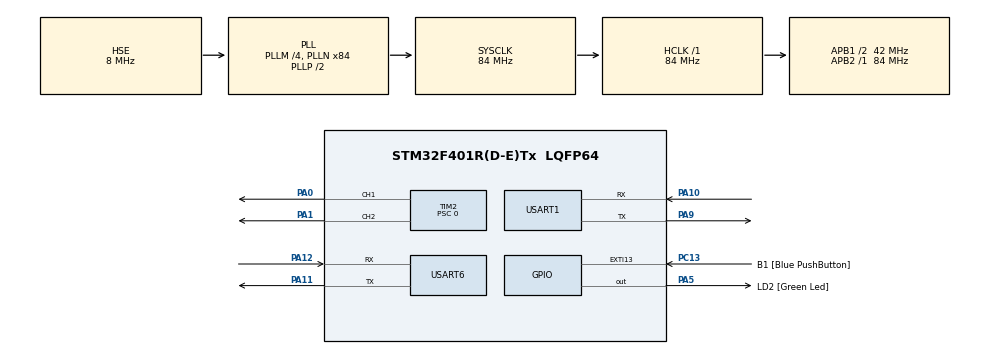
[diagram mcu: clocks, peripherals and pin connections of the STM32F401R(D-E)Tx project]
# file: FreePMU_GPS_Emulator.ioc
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Dma.Request0=USART6_RX
Dma.USART6_RX.0.Direction=DMA_PERIPH_TO_MEMORY
Dma.USART6_RX.0.FIFOMode=DMA_FIFOMODE_DISABLE
Dma.USART6_RX.0.Instance=DMA2_Stream1
Dma.USART6_RX.0.MemDataAlignment=DMA_MDATAALIGN_BYTE
Dma.USART6_RX.0.MemInc=DMA_MINC_ENABLE
Dma.USART6_RX.0.Mode=DMA_NORMAL
Dma.USART6_RX.0.PeriphDataAlignment=DMA_PDATAALIGN_BYTE
Dma.USART6_RX.0.PeriphInc=DMA_PINC_DISABLE
Dma.USART6_RX.0.Priority=DMA_PRIORITY_LOW
Mcu.Family=STM32F4
Mcu.Name=STM32F401R(D-E)Tx
Mcu.Package=LQFP64
NVIC.DMA2_Stream1_IRQn=true\:0\:0\:false\:false\:true\:false\:true
NVIC.PriorityGroup=NVIC_PRIORITYGROUP_0
NVIC.TIM2_IRQn=true\:0\:0\:false\:false\:true\:true\:true
NVIC.USART6_IRQn=true\:0\:0\:false\:false\:true\:true\:true
PA0-WKUP.Signal=S_TIM2_CH1_ETR
PA1.Signal=S_TIM2_CH2
PA10.Mode=Asynchronous
PA10.Signal=USART1_RX
PA11.Mode=Asynchronous
PA11.Signal=USART6_TX
PA12.Mode=Asynchronous
PA12.Signal=USART6_RX
PA13.GPIO_Label=TMS
PA13.Mode=Serial_Wire
PA13.Signal=SYS_JTMS-SWDIO
PA14.GPIO_Label=TCK
PA14.Mode=Serial_Wire
PA14.Signal=SYS_JTCK-SWCLK
PA5.GPIO_Label=LD2 [Green Led]
PA5.GPIO_Mode=GPIO_MODE_OUTPUT_PP
PA5.GPIO_PuPd=GPIO_NOPULL
PA5.GPIO_Speed=GPIO_SPEED_FREQ_LOW
PA5.Signal=GPIO_Output
PA9.Mode=Asynchronous
PA9.Signal=USART1_TX
PB3.GPIO_Label=SWO
PB3.Signal=SYS_JTDO-SWO
PC13-ANTI_TAMP.GPIO_Label=B1 [Blue PushButton]
PC13-ANTI_TAMP.GPIO_ModeDefaultEXTI=GPIO_MODE_IT_FALLING
PC13-ANTI_TAMP.GPIO_PuPd=GPIO_NOPULL
PC13-ANTI_TAMP.Signal=GPXTI13
PC14-OSC32_IN.Mode=LSE-External-Oscillator
PC14-OSC32_IN.Signal=RCC_OSC32_IN
PC15-OSC32_OUT.Mode=LSE-External-Oscillator
PC15-OSC32_OUT.Signal=RCC_OSC32_OUT
PH0\ -\ OSC_IN.Mode=HSE-External-Clock-Source
PH0\ -\ OSC_IN.Signal=RCC_OSC_IN
PH1\ -\ OSC_OUT.Mode=HSE-External-Clock-Source
PH1\ -\ OSC_OUT.Signal=RCC_OSC_OUT
ProjectManager.HeapSize=0x200
ProjectManager.StackSize=0x400
ProjectManager.TargetToolchain=STM32CubeIDE
RCC.48MHZClocksFreq_Value=24000000
RCC.AHBFreq_Value=84000000
RCC.APB1CLKDivider=RCC_HCLK_DIV2
RCC.APB1Freq_Value=42000000
RCC.APB1TimFreq_Value=84000000
RCC.APB2Freq_Value=84000000
RCC.APB2TimFreq_Value=84000000
RCC.CortexFreq_Value=84000000
RCC.HCLKFreq_Value=84000000
RCC.HSE_VALUE=8000000
RCC.HSI_VALUE=16000000
RCC.PLLM=4
RCC.PLLN=84
RCC.PLLQ=7
RCC.PLLSourceVirtual=RCC_PLLSOURCE_HSE
RCC.RCC_RTC_Clock_Source=RCC_RTCCLKSOURCE_LSE
RCC.RCC_RTC_Clock_SourceVirtual=RCC_RTCCLKSOURCE_LSE
RCC.RCC_RTC_Clock_Source_FROM_HSE=RCC_RTCCLKSOURCE_HSE_DIV8
RCC.SYSCLKFreq_VALUE=84000000
RCC.SYSCLKSource=RCC_SYSCLKSOURCE_PLLCLK
RCC.VCOOutputFreq_Value=168000000
SH.S_TIM2_CH1_ETR.0=TIM2_CH1,PWM Generation1 CH1
SH.S_TIM2_CH2.0=TIM2_CH2,PWM Generation2 CH2
TIM2.Channel-PWM\ Generation1\ CH1=TIM_CHANNEL_1
TIM2.Channel-PWM\ Generation2\ CH2=TIM_CHANNEL_2
TIM2.Period=2799999
TIM2.Prescaler=0
TIM2.Pulse-PWM\ Generation1\ CH1=279999
TIM2.Pulse-PWM\ Generation2\ CH2=279999
USART1.VirtualMode=VM_ASYNC
USART6.VirtualMode=VM_ASYNC
VP_RTC_VS_RTC_Activate.Mode=RTC_Enabled
VP_TIM2_VS_ClockSourceINT.Mode=Internal
board=NUCLEO-F401RE

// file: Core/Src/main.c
/* USER CODE BEGIN Header */
/**
  ******************************************************************************
  * @file           : main.c
  * @brief          : Main program body
  ******************************************************************************
  * @attention
  *
  * <h2><center>&copy; Copyright (c) 2021 STMicroelectronics.
  * All rights reserved.</center></h2>
  *
  * This software component is licensed by ST under BSD 3-Clause license,
  * the "License"; You may not use this file except in compliance with the
  * License. You may obtain a copy of the License at:
  *                        opensource.org/licenses/BSD-3-Clause
  *
  ******************************************************************************
  */
/* USER CODE END Header */
#include "main.h"

/* USER CODE BEGIN Includes */
#include <stdio.h>
/* USER CODE END Includes */

RTC_HandleTypeDef hrtc;

TIM_HandleTypeDef htim2;

UART_HandleTypeDef huart1;
UART_HandleTypeDef huart6;
DMA_HandleTypeDef hdma_usart6_rx;

/* USER CODE BEGIN PV */

uint8_t flagTIM2 = 0;
char time[30];
char date[30];
char gps_string[100];
int tempcounter = 0;
int pps_counter = 0;
RTC_TimeTypeDef sTime;
RTC_TimeTypeDef rxTime;
RTC_DateTypeDef sDate;
RTC_DateTypeDef rxDate;
uint8_t UART6_rxCommand[1] = {0};
uint8_t UART6_rxBuffer[17] = {0}; // Buffer where DMA will store the received date and time from serial.
uint8_t UART6_rxFlag = 0;
uint8_t rxDateTimeFlag = 0;

// Serial terminal messages:
const char welcome_msg[] = "\r\nFreePMU GPS emulator version 1.\r\n";
const char reset_dt_msg[] = "\r\nDate and time reset to 2022-01-01 12:00\r\n";
const char help_msg[] = "\r\nThis is the help message.\r\n\r\n\t h: Show this help message.\r\n\t p: Print the last send NMEA message.\r\n\t P: Print formatted date and time.\r\n\t s: Set the time and date.\r\n";
const char prompt1_msg[] = "\r\nEnter the date and time string (enable echo in your terminal):\r\nFomart: hh,mm,ss,DD,MM,YY\r\n=> ";
const char prompt2_msg[] = "\r\nString received: ";
const char prompt3_msg[] = "\r\nDate and time set to:\r\n";

/* USER CODE END PV */

void SystemClock_Config(void);
static void MX_GPIO_Init(void);
static void MX_RTC_Init(void);
static void MX_TIM2_Init(void);
static void MX_USART1_UART_Init(void);
static void MX_DMA_Init(void);
static void MX_USART6_UART_Init(void);

int main(void)
{

  /* MCU Configuration--------------------------------------------------------*/

  /* Reset of all peripherals, Initializes the Flash interface and the Systick. */
  HAL_Init();

  /* USER CODE BEGIN Init */
  uint8_t a;
  /* USER CODE END Init */

  /* Configure the system clock */
  SystemClock_Config();

  /* Initialize all configured peripherals */
  MX_GPIO_Init();
  MX_RTC_Init();
  MX_TIM2_Init();
  MX_USART1_UART_Init();
  MX_DMA_Init();
  MX_USART6_UART_Init();
  /* USER CODE BEGIN 2 */
  HAL_TIM_Base_Start_IT(&htim2);
  HAL_TIM_PWM_Start(&htim2, TIM_CHANNEL_1);
  HAL_TIM_PWM_Start(&htim2, TIM_CHANNEL_2);
  HAL_UART_Transmit(&huart6, (uint8_t*)welcome_msg,sizeof(welcome_msg),1000);
  HAL_UART_Receive_DMA(&huart6, UART6_rxCommand, sizeof(UART6_rxCommand));

  // Check user button press. If pressed, RTC clock is reseted to the subsequent
  // date and time.
  if(HAL_GPIO_ReadPin(B1_GPIO_Port, B1_Pin) == GPIO_PIN_RESET){
	  // Specified values are in BCD format.
	  sTime.Hours = 0x12;
	  sTime.Minutes = 0x00;
	  sTime.Seconds = 0x00;
	  sTime.SecondFraction = 0x00;
	  sTime.DayLightSaving = RTC_DAYLIGHTSAVING_NONE;
	  sTime.StoreOperation = RTC_STOREOPERATION_RESET;
	  if (HAL_RTC_SetTime(&hrtc, &sTime, RTC_FORMAT_BCD) != HAL_OK)
	  {
	    Error_Handler();
	  }
	  sDate.WeekDay = RTC_WEEKDAY_SATURDAY;
	  sDate.Month = RTC_MONTH_JANUARY;
	  sDate.Date = 0x01;
	  sDate.Year = 0x22;

	  if (HAL_RTC_SetDate(&hrtc, &sDate, RTC_FORMAT_BCD) != HAL_OK)
	  {
	    Error_Handler();
	  }
	  HAL_UART_Transmit(&huart6, (uint8_t*)reset_dt_msg, sizeof(reset_dt_msg), 1000);
  }

  /* USER CODE END 2 */

  /* Infinite loop */
  /* USER CODE BEGIN WHILE */
  while (1)
  {
	  if (pps_counter > 29){
		  HAL_RTC_GetTime(&hrtc, &sTime, RTC_FORMAT_BIN);
		  HAL_RTC_GetDate(&hrtc, &sDate, RTC_FORMAT_BIN);

		  //"GPRMC,190430,A,4812.3038,S,07330.7690,W,3.7,3.8,090210,13.7,E,D*26\n";
		  sprintf(date,"Date: %02d.%02d.%02d\t",sDate.Date,sDate.Month,sDate.Year);
		  sprintf(time,"Time: %02d.%02d.%02d\r\n",sTime.Hours,sTime.Minutes,sTime.Seconds);
		  sprintf(gps_string,"$GPRMC,%02d%02d%02d,A,2730.00,S,048300.00,W,0.0,0.0,%02d%02d%02d,20.3,E*26\r\n",sTime.Hours,sTime.Minutes,sTime.Seconds,sDate.Date,sDate.Month,sDate.Year);

		  HAL_UART_Transmit(&huart1, (uint8_t*)gps_string, sizeof(gps_string),1000);
		  tempcounter++;
		  pps_counter = 0;
		  flagTIM2 = 0;
	  }
	  // Perform actions accordingly with the received command character:
	  if(UART6_rxFlag){
		  if (*UART6_rxCommand == 'h'){
			  HAL_UART_Transmit(&huart6, (uint8_t*)help_msg, sizeof(help_msg), 1000);
			  HAL_UART_Receive_DMA(&huart6, UART6_rxCommand, sizeof(UART6_rxCommand)); // Enable reception of a command
		  }
		  else if(*UART6_rxCommand == 'p'){
			  HAL_UART_Transmit(&huart6, (uint8_t*)"\r\n", 2,1000);
			  HAL_UART_Transmit(&huart6, (uint8_t*)gps_string, sizeof(gps_string),1000);
			  HAL_UART_Receive_DMA(&huart6, UART6_rxCommand, sizeof(UART6_rxCommand)); // Enable reception of a command
		  }
		  else if(*UART6_rxCommand == 'P'){
			  HAL_UART_Transmit(&huart6, (uint8_t*)"\r\n", 2,1000);
			  HAL_UART_Transmit(&huart6, (uint8_t*)date, sizeof(date),1000);
			  HAL_UART_Transmit(&huart6, (uint8_t*)time, sizeof(time),1000);
			  HAL_UART_Receive_DMA(&huart6, UART6_rxCommand, sizeof(UART6_rxCommand)); // Enable reception of a command
		  }
		  else if(*UART6_rxCommand == 's'){
			  if (rxDateTimeFlag){ // Decode buffer
				  //HAL_UART_Transmit(&huart6, (uint8_t*)prompt2_msg, sizeof(prompt2_msg), 1000);
				  sscanf((char *)UART6_rxBuffer,"%02d,%02d,%02d,%02d,%02d,%02d",(int *)&rxTime.Hours,(int *)&rxTime.Minutes,(int *)&rxTime.Seconds,(int *)&a,(int *)&rxDate.Month,(int *)&rxDate.Year);
				  rxDate.Date = a; // Due to sscanf bizarre behavior.
				  sprintf(date,"\r\nDate: %02d.%02d.%02d\t",rxDate.Date,rxDate.Month,rxDate.Year);
				  sprintf(time,"Time: %02d.%02d.%02d\r\n",rxTime.Hours,rxTime.Minutes,rxTime.Seconds);
				  HAL_UART_Transmit(&huart6, (uint8_t*)prompt3_msg, sizeof(prompt3_msg), 1000);
				  HAL_UART_Transmit(&huart6, (uint8_t*)date, sizeof(date),1000);
				  HAL_UART_Transmit(&huart6, (uint8_t*)time, sizeof(time),1000);
				  // Update RTC:
				  HAL_RTC_SetTime(&hrtc, &rxTime, RTC_FORMAT_BIN);
				  HAL_RTC_SetDate(&hrtc, &rxDate, RTC_FORMAT_BIN);
				  rxDateTimeFlag = 0;
				  HAL_UART_Receive_DMA(&huart6, UART6_rxCommand, sizeof(UART6_rxCommand)); // Enable reception of a command
			  }else{ // Prompt for setting:
				  HAL_UART_Transmit(&huart6, (uint8_t*)prompt1_msg, sizeof(prompt1_msg), 1000);
				  HAL_UART_Receive_DMA(&huart6, UART6_rxBuffer, sizeof(UART6_rxBuffer)); // Enable reception of the buffer.
				  rxDateTimeFlag = 1; // flag for the next time the interrupt is triggered  (buffer full).
			  }
		  }
		  // Reset flag:
		  UART6_rxFlag = 0;

	  }
    /* USER CODE END WHILE */

  }
}

void SystemClock_Config(void)
{
  RCC_OscInitTypeDef RCC_OscInitStruct = {0};
  RCC_ClkInitTypeDef RCC_ClkInitStruct = {0};

  /** Configure the main internal regulator output voltage
  */
  __HAL_RCC_PWR_CLK_ENABLE();
  __HAL_PWR_VOLTAGESCALING_CONFIG(PWR_REGULATOR_VOLTAGE_SCALE2);
  /** Initializes the RCC Oscillators according to the specified parameters
  * in the RCC_OscInitTypeDef structure.
  */
  RCC_OscInitStruct.OscillatorType = RCC_OSCILLATORTYPE_HSE|RCC_OSCILLATORTYPE_LSE;
  RCC_OscInitStruct.HSEState = RCC_HSE_BYPASS;
  RCC_OscInitStruct.LSEState = RCC_LSE_ON;
  RCC_OscInitStruct.PLL.PLLState = RCC_PLL_ON;
  RCC_OscInitStruct.PLL.PLLSource = RCC_PLLSOURCE_HSE;
  RCC_OscInitStruct.PLL.PLLM = 4;
  RCC_OscInitStruct.PLL.PLLN = 84;
  RCC_OscInitStruct.PLL.PLLP = RCC_PLLP_DIV2;
  RCC_OscInitStruct.PLL.PLLQ = 7;
  if (HAL_RCC_OscConfig(&RCC_OscInitStruct) != HAL_OK)
  {
    Error_Handler();
  }
  /** Initializes the CPU, AHB and APB buses clocks
  */
  RCC_ClkInitStruct.ClockType = RCC_CLOCKTYPE_HCLK|RCC_CLOCKTYPE_SYSCLK
                              |RCC_CLOCKTYPE_PCLK1|RCC_CLOCKTYPE_PCLK2;
  RCC_ClkInitStruct.SYSCLKSource = RCC_SYSCLKSOURCE_PLLCLK;
  RCC_ClkInitStruct.AHBCLKDivider = RCC_SYSCLK_DIV1;
  RCC_ClkInitStruct.APB1CLKDivider = RCC_HCLK_DIV2;
  RCC_ClkInitStruct.APB2CLKDivider = RCC_HCLK_DIV1;

  if (HAL_RCC_ClockConfig(&RCC_ClkInitStruct, FLASH_LATENCY_2) != HAL_OK)
  {
    Error_Handler();
  }
}

static void MX_RTC_Init(void)
{

  /** Initialize RTC Only
  */
  hrtc.Instance = RTC;
  hrtc.Init.HourFormat = RTC_HOURFORMAT_24;
  hrtc.Init.AsynchPrediv = 127;
  hrtc.Init.SynchPrediv = 255;
  hrtc.Init.OutPut = RTC_OUTPUT_DISABLE;
  hrtc.Init.OutPutPolarity = RTC_OUTPUT_POLARITY_HIGH;
  hrtc.Init.OutPutType = RTC_OUTPUT_TYPE_OPENDRAIN;
  if (HAL_RTC_Init(&hrtc) != HAL_OK)
  {
    Error_Handler();
  }

}

static void MX_TIM2_Init(void)
{

  TIM_ClockConfigTypeDef sClockSourceConfig = {0};
  TIM_MasterConfigTypeDef sMasterConfig = {0};
  TIM_OC_InitTypeDef sConfigOC = {0};

  htim2.Instance = TIM2;
  htim2.Init.Prescaler = 0;
  htim2.Init.CounterMode = TIM_COUNTERMODE_UP;
  htim2.Init.Period = 2799999;
  htim2.Init.ClockDivision = TIM_CLOCKDIVISION_DIV1;
  htim2.Init.AutoReloadPreload = TIM_AUTORELOAD_PRELOAD_DISABLE;
  if (HAL_TIM_Base_Init(&htim2) != HAL_OK)
  {
    Error_Handler();
  }
  sClockSourceConfig.ClockSource = TIM_CLOCKSOURCE_INTERNAL;
  if (HAL_TIM_ConfigClockSource(&htim2, &sClockSourceConfig) != HAL_OK)
  {
    Error_Handler();
  }
  if (HAL_TIM_PWM_Init(&htim2) != HAL_OK)
  {
    Error_Handler();
  }
  sMasterConfig.MasterOutputTrigger = TIM_TRGO_RESET;
  sMasterConfig.MasterSlaveMode = TIM_MASTERSLAVEMODE_DISABLE;
  if (HAL_TIMEx_MasterConfigSynchronization(&htim2, &sMasterConfig) != HAL_OK)
  {
    Error_Handler();
  }
  sConfigOC.OCMode = TIM_OCMODE_PWM1;
  sConfigOC.Pulse = 279999;
  sConfigOC.OCPolarity = TIM_OCPOLARITY_HIGH;
  sConfigOC.OCFastMode = TIM_OCFAST_DISABLE;
  if (HAL_TIM_PWM_ConfigChannel(&htim2, &sConfigOC, TIM_CHANNEL_1) != HAL_OK)
  {
    Error_Handler();
  }
  if (HAL_TIM_PWM_ConfigChannel(&htim2, &sConfigOC, TIM_CHANNEL_2) != HAL_OK)
  {
    Error_Handler();
  }
  HAL_TIM_MspPostInit(&htim2);

}

static void MX_USART1_UART_Init(void)
{

  huart1.Instance = USART1;
  huart1.Init.BaudRate = 115200;
  huart1.Init.WordLength = UART_WORDLENGTH_8B;
  huart1.Init.StopBits = UART_STOPBITS_1;
  huart1.Init.Parity = UART_PARITY_NONE;
  huart1.Init.Mode = UART_MODE_TX_RX;
  huart1.Init.HwFlowCtl = UART_HWCONTROL_NONE;
  huart1.Init.OverSampling = UART_OVERSAMPLING_16;
  if (HAL_UART_Init(&huart1) != HAL_OK)
  {
    Error_Handler();
  }

}

static void MX_USART6_UART_Init(void)
{

  huart6.Instance = USART6;
  huart6.Init.BaudRate = 115200;
  huart6.Init.WordLength = UART_WORDLENGTH_8B;
  huart6.Init.StopBits = UART_STOPBITS_1;
  huart6.Init.Parity = UART_PARITY_NONE;
  huart6.Init.Mode = UART_MODE_TX_RX;
  huart6.Init.HwFlowCtl = UART_HWCONTROL_NONE;
  huart6.Init.OverSampling = UART_OVERSAMPLING_16;
  if (HAL_UART_Init(&huart6) != HAL_OK)
  {
    Error_Handler();
  }

}

static void MX_DMA_Init(void)
{

  /* DMA controller clock enable */
  __HAL_RCC_DMA2_CLK_ENABLE();

  /* DMA interrupt init */
  /* DMA2_Stream1_IRQn interrupt configuration */
  HAL_NVIC_SetPriority(DMA2_Stream1_IRQn, 0, 0);
  HAL_NVIC_EnableIRQ(DMA2_Stream1_IRQn);

}

static void MX_GPIO_Init(void)
{
  GPIO_InitTypeDef GPIO_InitStruct = {0};

  /* GPIO Ports Clock Enable */
  __HAL_RCC_GPIOC_CLK_ENABLE();
  __HAL_RCC_GPIOH_CLK_ENABLE();
  __HAL_RCC_GPIOA_CLK_ENABLE();
  __HAL_RCC_GPIOB_CLK_ENABLE();

  /*Configure GPIO pin Output Level */
  HAL_GPIO_WritePin(LD2_GPIO_Port, LD2_Pin, GPIO_PIN_RESET);

  /*Configure GPIO pin : B1_Pin */
  GPIO_InitStruct.Pin = B1_Pin;
  GPIO_InitStruct.Mode = GPIO_MODE_IT_FALLING;
  GPIO_InitStruct.Pull = GPIO_NOPULL;
  HAL_GPIO_Init(B1_GPIO_Port, &GPIO_InitStruct);

  /*Configure GPIO pin : LD2_Pin */
  GPIO_InitStruct.Pin = LD2_Pin;
  GPIO_InitStruct.Mode = GPIO_MODE_OUTPUT_PP;
  GPIO_InitStruct.Pull = GPIO_NOPULL;
  GPIO_InitStruct.Speed = GPIO_SPEED_FREQ_LOW;
  HAL_GPIO_Init(LD2_GPIO_Port, &GPIO_InitStruct);

}

/* USER CODE BEGIN 4 */

// Callback of Timer interrupt
void HAL_TIM_PeriodElapsedCallback(TIM_HandleTypeDef *htim){

	// Check which version of the timer triggered this callback and toggle LED
	if (htim == &htim2 ){
		HAL_GPIO_TogglePin(LD2_GPIO_Port, LD2_Pin);
		//flagTIM2 = 1;
		pps_counter++;
	}

}

// Callback of the UART interrupt
void HAL_UART_RxCpltCallback(UART_HandleTypeDef *huart){

	if(huart == &huart6){
		UART6_rxFlag = 1;
		//HAL_UART_Receive_DMA(&huart6, UART6_rxCommand, 2);
	}

}

/* USER CODE END 4 */

void Error_Handler(void)
{
  __disable_irq();
  while (1)
  {
  }
}

/************************ (C) COPYRIGHT STMicroelectronics *****END OF FILE****/
